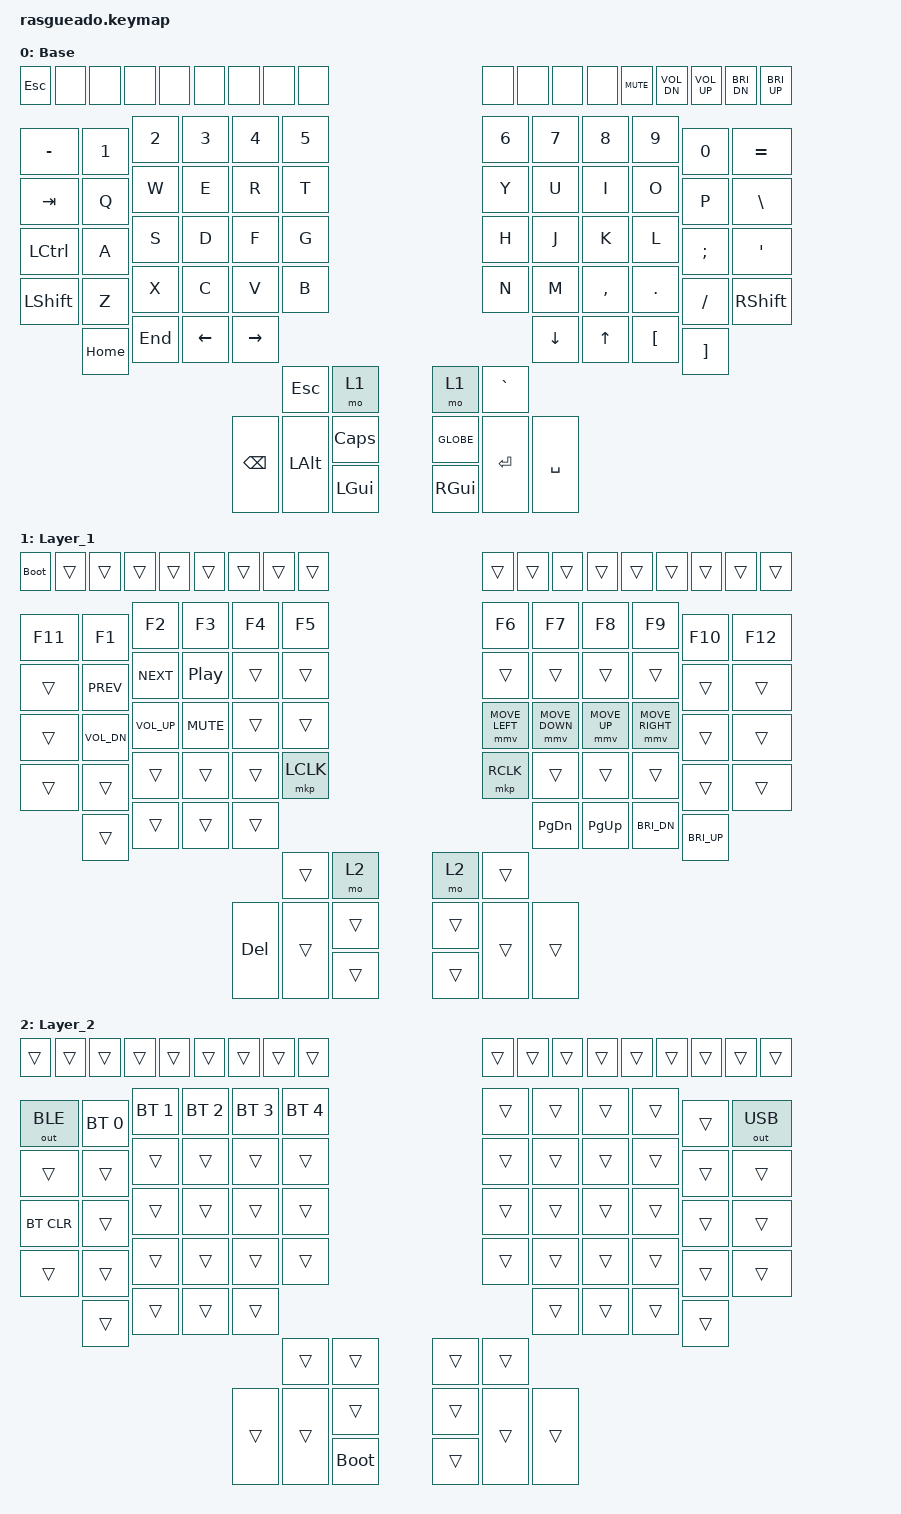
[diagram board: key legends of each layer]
/*
 * Copyright (c) 2020 The ZMK Contributors
 *
 * SPDX-License-Identifier: MIT
 */

#define ZMK_POINTING_DEFAULT_MOVE_VAL 1500

#include <behaviors.dtsi>
#include <dt-bindings/zmk/bt.h>
#include <dt-bindings/zmk/keys.h>
#include <dt-bindings/zmk/outputs.h>
#include <dt-bindings/zmk/pointing.h>

&mt {
    quick-tap-ms = <100>;
    global-quick-tap;
    flavor = "tap-preferred";
    tapping-term-ms = <170>;
};

/ {
    behaviors {
        hm: homerow_mods {
            compatible = "zmk,behavior-hold-tap";
            bindings = <&kp>, <&kp>;

            #binding-cells = <2>;
            tapping-term-ms = <170>;
            quick-tap-ms = <125>;
            flavor = "tap-preferred";
        };
    };

    keymap {
        compatible = "zmk,keymap";

        Base {
            bindings = <
&kp ESC    &none     &none    &none     &none      &none     &none   &none  &none                                        &none  &none  &none       &none      &kp K_MUTE  &kp C_VOL_DN  &kp C_VOLUME_UP  &kp C_BRI_DN   &kp C_BRI_UP  
&kp MINUS  &kp N1    &kp N2   &kp N3    &kp N4     &kp N5                                                                                          &kp N6     &kp N7      &kp N8        &kp N9           &kp N0         &kp EQUAL
&kp TAB    &kp Q     &kp W    &kp E     &kp R      &kp T                                                                                           &kp Y      &kp U       &kp I         &kp O            &kp P          &kp BSLH
&kp LCTRL  &kp A     &kp S    &kp D     &kp F      &kp G                                                                                           &kp H      &kp J       &kp K         &kp L            &kp SEMICOLON  &kp SQT
&kp LSHFT  &kp Z     &kp X    &kp C     &kp V      &kp B                                                                                           &kp N      &kp M       &kp COMMA     &kp DOT          &kp SLASH      &kp RSHFT
           &kp HOME  &kp END  &kp LEFT  &kp RIGHT                                                                                                             &kp DOWN    &kp UP        &kp LBKT         &kp RBKT  
                                                   &kp ESC   &mo 1                                                                     &mo 1       &kp GRAVE
                                                             &kp CAPS                                                                  &kp GLOBE    
                                        &kp BSPC   &kp LALT  &kp LGUI                                                                  &kp RGUI    &kp RET    &kp SPACE
            >;
        };

        Layer_1 {
            bindings = <
&bootloader  &trans        &trans           &trans      &trans      &trans    &trans  &trans  &trans                     &trans  &trans  &trans  &trans          &trans          &trans        &trans           &trans        &trans
&kp F11      &kp F1        &kp F2           &kp F3      &kp F4      &kp F5                                                                       &kp F6          &kp F7          &kp F8        &kp F9           &kp F10       &kp F12
&trans       &kp C_PREV    &kp C_NEXT       &kp C_PP    &trans      &trans                                                                       &trans          &trans          &trans        &trans           &trans        &trans  
&trans       &kp C_VOL_DN  &kp C_VOLUME_UP  &kp K_MUTE  &trans      &trans                                                                       &mmv MOVE_LEFT  &mmv MOVE_DOWN  &mmv MOVE_UP  &mmv MOVE_RIGHT  &trans        &trans  
&trans       &trans        &trans           &trans      &trans      &mkp LCLK                                                                    &mkp RCLK       &trans          &trans        &trans           &trans        &trans  
             &trans        &trans           &trans      &trans                                                                                                   &kp PG_DN       &kp PG_UP     &kp C_BRI_DN     &kp C_BRI_UP  
                                                                    &trans    &mo 2                                                      &mo 2   &trans  
                                                                              &trans                                                     &trans  
                                                        &kp DELETE  &trans    &trans                                                     &trans  &trans          &trans
            >;
        };

        Layer_2 {
            bindings = <
&trans        &trans        &trans        &trans        &trans        &trans        &trans  &trans  &trans               &trans  &trans  &trans  &trans  &trans  &trans  &trans  &trans  &trans  
&out OUT_BLE  &bt BT_SEL 0  &bt BT_SEL 1  &bt BT_SEL 2  &bt BT_SEL 3  &bt BT_SEL 4                                                               &trans  &trans  &trans  &trans  &trans  &out OUT_USB  
&trans        &trans        &trans        &trans        &trans        &trans                                                                     &trans  &trans  &trans  &trans  &trans  &trans  
&bt BT_CLR    &trans        &trans        &trans        &trans        &trans                                                                     &trans  &trans  &trans  &trans  &trans  &trans  
&trans        &trans        &trans        &trans        &trans        &trans                                                                     &trans  &trans  &trans  &trans  &trans  &trans  
              &trans        &trans        &trans        &trans                                                                                           &trans  &trans  &trans  &trans  
                                                                      &trans        &trans                                               &trans  &trans  
                                                                                    &trans                                               &trans  
                                                        &trans        &trans        &bootloader                                          &trans  &trans  &trans
            >;
        };
    };

    conditional_layers { compatible = "zmk,conditional-layers"; };
};

